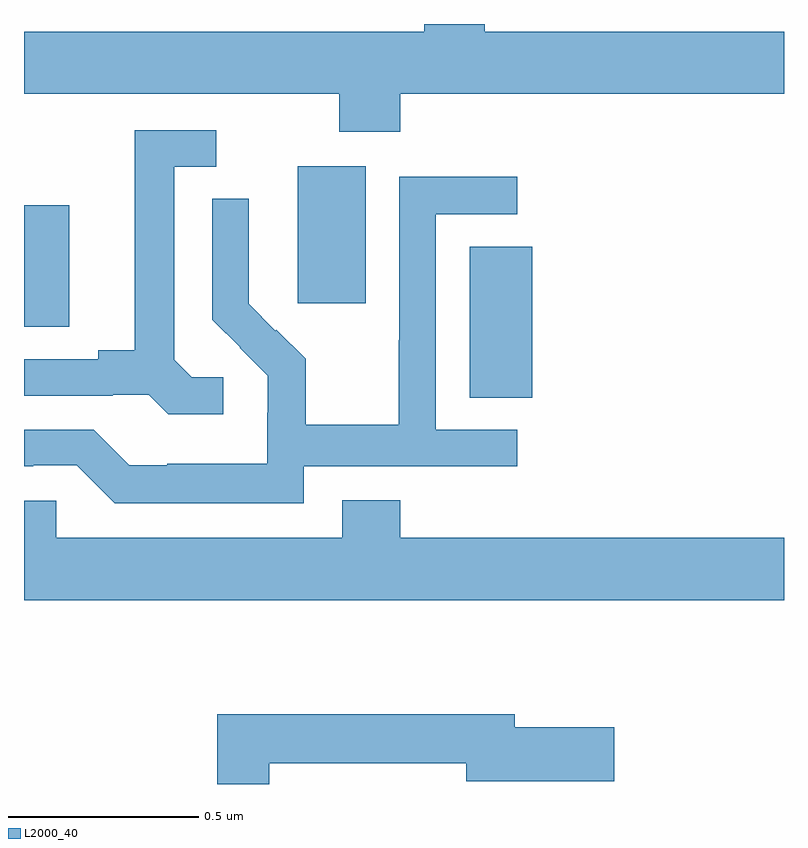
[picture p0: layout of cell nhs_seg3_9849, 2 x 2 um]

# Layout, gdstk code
import gdstk
lib = gdstk.Library(unit=1e-6, precision=1e-09)
def R(c, l, rs):  # rectangles x0, y0, x1, y1
    for r in rs: c.add(gdstk.rectangle(r[:2], r[2:], *l))
def P(c, l, *ps):  # polygons
    for p in ps: c.add(gdstk.Polygon(p, *l))
L2000_40 = (2000, 40)

nhs_seg3_9849 = lib.new_cell('nhs_seg3_9849')
R(nhs_seg3_9849, L2000_40, [(234.173,733.417,234.337,733.814), (233,733.603,233.119,733.923), (233.72,733.665,233.899,734.026)])
P(nhs_seg3_9849, L2000_40, [(233.99,734.216),(235,734.216),(235,734.38),(234.213,734.38),(234.213,734.4),(234.053,734.4),(234.053,734.38),(233,734.38),(233,734.216),(233.83,734.216),(233.83,734.117),(233.99,734.117)],
  [(233.524,733.47),(233.442,733.47),(233.395,733.517),(233.395,734.025),(233.506,734.025),(233.506,734.121),(233.291,734.121),(233.291,733.541),(233.195,733.541),(233.195,733.518),(233,733.518),(233,733.422),(233.234,733.422),(233.234,733.425),(233.328,733.425),(233.38,733.373),(233.524,733.373)],
  [(233.736,733.236),(234.298,733.236),(234.298,733.332),(234.084,733.332),(234.084,733.899),(234.298,733.899),(234.298,733.998),(233.988,733.998),(233.988,733.568),(233.986,733.568),(233.986,733.345),(233.741,733.345),(233.741,733.519),(233.664,733.596),(233.661,733.593),(233.591,733.664),(233.591,733.786),(233.592,733.786),(233.592,733.94),(233.496,733.94),(233.496,733.622),(233.569,733.549),(233.568,733.548),(233.642,733.474),(233.642,733.377),(233.64,733.377),(233.64,733.243),(233.377,733.243),(233.377,733.239),(233.277,733.239),(233.184,733.332),(233,733.332),(233,733.236),(233.024,733.236),(233.024,733.239),(233.139,733.239),(233.239,733.139),(233.736,733.139)],
  [(235,733.048),(233.99,733.048),(233.99,733.147),(233.837,733.147),(233.837,733.048),(233.085,733.048),(233.085,733.146),(233,733.146),(233,732.884),(235,732.884)],
  [(233.645,732.454),(234.164,732.454),(234.164,732.407),(234.553,732.407),(234.553,732.549),(234.292,732.549),(234.292,732.583),(233.509,732.583),(233.509,732.4),(233.645,732.4)])

lib.write_gds('nhs_seg3_9849.gds')
